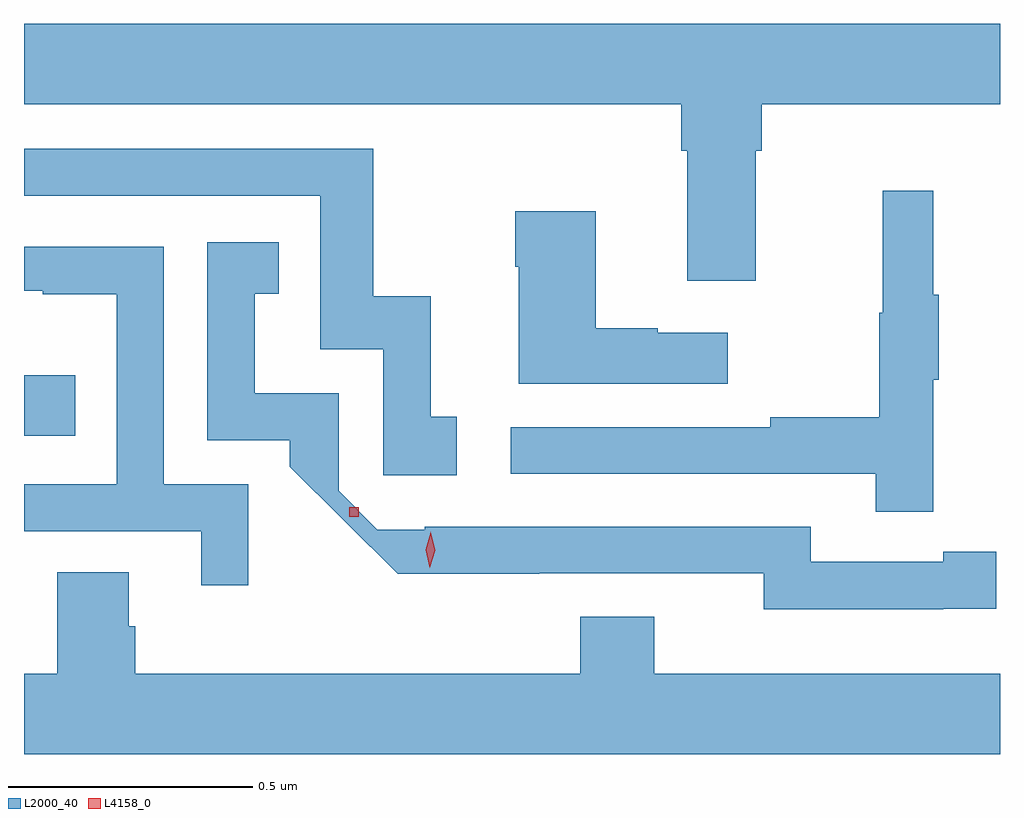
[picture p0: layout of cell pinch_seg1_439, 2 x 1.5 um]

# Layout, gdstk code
import gdstk
lib = gdstk.Library(unit=1e-6, precision=1e-09)
def R(c, l, rs):  # rectangles x0, y0, x1, y1
    for r in rs: c.add(gdstk.rectangle(r[:2], r[2:], *l))
def P(c, l, *ps):  # polygons
    for p in ps: c.add(gdstk.Polygon(p, *l))
L2000_40 = (2000, 40)
L4158_0 = (4158, 0)

pinch_seg1_439 = lib.new_cell('pinch_seg1_439')
R(pinch_seg1_439, L2000_40, [(922.46,525.744,922.565,525.868)])
P(pinch_seg1_439, L2000_40, [(923.959,526.328),(923.972,526.328),(923.972,526.424),(924.46,526.424),(924.46,526.588),(922.46,526.588),(922.46,526.424),(923.807,526.424),(923.807,526.328),(923.819,526.328),(923.819,526.062),(923.959,526.062)],
  [(923.347,525.783),(923.294,525.783),(923.294,526.03),(923.176,526.03),(923.176,526.332),(922.46,526.332),(922.46,526.236),(923.067,526.236),(923.067,525.921),(923.196,525.921),(923.196,525.663),(923.347,525.663)],
  [(924.323,525.859),(924.334,525.859),(924.334,526.033),(924.323,526.033),(924.323,526.246),(924.22,526.246),(924.22,525.996),(924.213,525.996),(924.213,525.782),(923.989,525.782),(923.989,525.762),(923.457,525.762),(923.457,525.666),(924.205,525.666),(924.205,525.588),(924.323,525.588)],
  [(923.902,525.955),(923.759,525.955),(923.759,525.965),(923.632,525.965),(923.632,526.204),(923.467,526.204),(923.467,526.091),(923.474,526.091),(923.474,525.851),(923.902,525.851)],
  [(924.344,525.39),(924.452,525.39),(924.452,525.506),(924.344,525.506),(924.344,525.486),(924.072,525.486),(924.072,525.558),(923.281,525.558),(923.281,525.552),(923.184,525.552),(923.105,525.631),(923.105,525.831),(922.933,525.831),(922.933,526.035),(922.982,526.035),(922.982,526.141),(922.836,526.141),(922.836,525.735),(923.005,525.735),(923.005,525.681),(923.226,525.461),(923.516,525.461),(923.516,525.462),(923.976,525.462),(923.976,525.389),(924.344,525.389)],
  [(922.92,525.645),(922.746,525.645),(922.746,526.131),(922.46,526.131),(922.46,526.041),(922.498,526.041),(922.498,526.034),(922.65,526.034),(922.65,525.645),(922.46,525.645),(922.46,525.549),(922.823,525.549),(922.823,525.438),(922.92,525.438)],
  [(924.46,525.256),(923.752,525.256),(923.752,525.373),(923.6,525.373),(923.6,525.256),(922.688,525.256),(922.688,525.354),(922.675,525.354),(922.675,525.464),(922.528,525.464),(922.528,525.256),(922.46,525.256),(922.46,525.092),(924.46,525.092)])
R(pinch_seg1_439, L4158_0, [(923.126,525.578,923.146,525.598)])
P(pinch_seg1_439, L4158_0, [(923.291,525.474),(923.291,525.474),(923.283,525.511),(923.294,525.546),(923.294,525.547),(923.294,525.546),(923.303,525.51),(923.291,525.474)])

lib.write_gds('pinch_seg1_439.gds')
